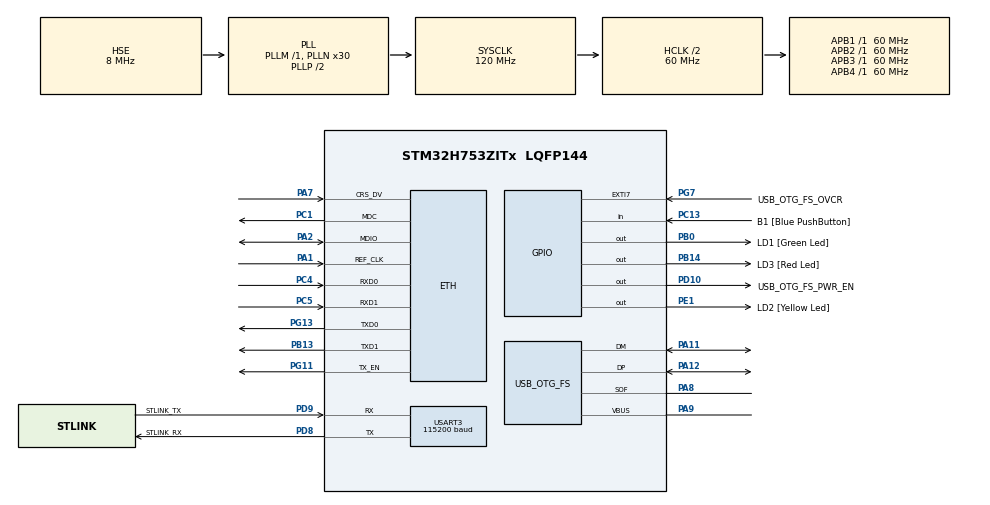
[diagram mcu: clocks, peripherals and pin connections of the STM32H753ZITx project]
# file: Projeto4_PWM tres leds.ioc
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CORTEX_M7.CPU_DCache=Disabled
CORTEX_M7.CPU_ICache=Disabled
CORTEX_M7.MPU_Control=__NULL
ETH.ETH_RX_DESC_CNT=4
ETH.ETH_TX_DESC_CNT=4
ETH.MACAddr=00\:80\:E1\:00\:00\:00
ETH.MediaInterface=HAL_ETH_RMII_MODE
ETH.RxBuffAddress=0x30040200
ETH.RxBuffLen=1524
ETH.RxDescAddress=0x30040000
ETH.TxDescAddress=0x30040060
Mcu.Family=STM32H7
Mcu.Name=STM32H753ZITx
Mcu.Package=LQFP144
NVIC.PriorityGroup=NVIC_PRIORITYGROUP_4
PA1.Mode=RMII
PA1.Signal=ETH_REF_CLK
PA11.Mode=Device_Only
PA11.Signal=USB_OTG_FS_DM
PA12.Mode=Device_Only
PA12.Signal=USB_OTG_FS_DP
PA2.Mode=RMII
PA2.Signal=ETH_MDIO
PA7.Mode=RMII
PA7.Signal=ETH_CRS_DV
PA8.Mode=Activate_SOF_FS
PA8.Signal=USB_OTG_FS_SOF
PA9.Mode=Activate_VBUS
PA9.Signal=USB_OTG_FS_VBUS
PB0.GPIO_Label=LD1 [Green Led]
PB0.Signal=GPIO_Output
PB13.Mode=RMII
PB13.Signal=ETH_TXD1
PB14.GPIO_Label=LD3 [Red Led]
PB14.Signal=GPIO_Output
PC1.Mode=RMII
PC1.Signal=ETH_MDC
PC13.GPIO_Label=B1 [Blue PushButton]
PC13.Signal=GPIO_Input
PC14-OSC32_IN\ (OSC32_IN).Mode=LSE-External-Oscillator
PC14-OSC32_IN\ (OSC32_IN).Signal=RCC_OSC32_IN
PC15-OSC32_OUT\ (OSC32_OUT).Mode=LSE-External-Oscillator
PC15-OSC32_OUT\ (OSC32_OUT).Signal=RCC_OSC32_OUT
PC4.Mode=RMII
PC4.Signal=ETH_RXD0
PC5.Mode=RMII
PC5.Signal=ETH_RXD1
PD10.GPIO_Label=USB_OTG_FS_PWR_EN
PD10.Signal=GPIO_Output
PD8.GPIO_Label=STLINK_RX
PD8.Mode=Asynchronous
PD8.Signal=USART3_TX
PD9.GPIO_Label=STLINK_TX
PD9.Mode=Asynchronous
PD9.Signal=USART3_RX
PE1.GPIO_Label=LD2 [Yellow Led]
PE1.Signal=GPIO_Output
PG11.Mode=RMII
PG11.Signal=ETH_TX_EN
PG13.Mode=RMII
PG13.Signal=ETH_TXD0
PG7.GPIO_Label=USB_OTG_FS_OVCR
PG7.Signal=GPXTI7
PH0-OSC_IN\ (PH0).Mode=HSE-External-Clock-Source
PH0-OSC_IN\ (PH0).Signal=RCC_OSC_IN
PH1-OSC_OUT\ (PH1).Signal=RCC_OSC_OUT
ProjectManager.HeapSize=0x200
ProjectManager.StackSize=0x400
ProjectManager.TargetToolchain=STM32CubeIDE
RCC.ADCFreq_Value=16125000
RCC.APB1Freq_Value=60000000
RCC.APB2Freq_Value=60000000
RCC.APB3Freq_Value=60000000
RCC.APB4Freq_Value=60000000
RCC.CortexFreq_Value=60000000
RCC.D1CPRE=RCC_SYSCLK_DIV2
RCC.DIVM1=1
RCC.DIVN1=30
RCC.DIVQ1=4
RCC.HCLKFreq_Value=60000000
RCC.HSE_VALUE=8000000
RCC.PLL2FRACN=0
RCC.PLL3FRACN=0
RCC.PLLFRACN=0
RCC.PWR_Regulator_Voltage_Scale=PWR_REGULATOR_VOLTAGE_SCALE2
RCC.SYSCLKFreq_VALUE=120000000
RCC.SYSCLKSource=RCC_SYSCLKSOURCE_PLLCLK
RCC.USBFreq_Value=60000000
USART3.AutoBaudRateEnableParam=UART_ADVFEATURE_AUTOBAUDRATE_DISABLE
USART3.BaudRate=115200
USART3.ClockPrescaler=PRESCALER_DIV1
USART3.DMADisableonRxErrorParam=ADVFEATURE_DMA_ENABLEONRXERROR
USART3.DataInvertParam=ADVFEATURE_DATAINV_DISABLE
USART3.FIFOMode=FIFOMODE_DISABLE
USART3.MSBFirstParam=ADVFEATURE_MSBFIRST_DISABLE
USART3.Mode=MODE_TX_RX
USART3.OneBitSampling=UART_ONE_BIT_SAMPLE_DISABLE
USART3.OverSampling=UART_OVERSAMPLING_16
USART3.OverrunDisableParam=ADVFEATURE_OVERRUN_ENABLE
USART3.Parity=PARITY_NONE
USART3.RXFIFOThreshold=RXFIFO_THRESHOLD_1EIGHTHFULL
USART3.RxPinLevelInvertParam=ADVFEATURE_RXINV_DISABLE
USART3.StopBits=STOPBITS_1
USART3.SwapParam=ADVFEATURE_SWAP_DISABLE
USART3.TXFIFOThreshold=TXFIFO_THRESHOLD_1EIGHTHFULL
USART3.TxPinLevelInvertParam=ADVFEATURE_TXINV_DISABLE
USART3.VirtualMode-Asynchronous=VM_ASYNC
USART3.WordLength=WORDLENGTH_8B
USB_OTG_FS.Sof_enable=ENABLE
USB_OTG_FS.VirtualMode=Device_Only
USB_OTG_FS.battery_charging_enable=ENABLE
USB_OTG_FS.low_power_enable=DISABLE
USB_OTG_FS.lpm_enable=DISABLE
USB_OTG_FS.use_dedicated_ep1=DISABLE
USB_OTG_FS.vbus_sensing_enable=ENABLE
board=NUCLEO-H753ZI

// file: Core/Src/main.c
/* USER CODE BEGIN Header */
/**
  ******************************************************************************
  * @file           : main.c
  * @brief          : Main program body
  ******************************************************************************
  * @attention
  *
  * Copyright (c) 2024 STMicroelectronics.
  * All rights reserved.
  *
  * This software is licensed under terms that can be found in the LICENSE file
  * in the root directory of this software component.
  * If no LICENSE file comes with this software, it is provided AS-IS.
  *
  ******************************************************************************
  */
/* USER CODE END Header */
#include "main.h"
#include "string.h"

#if defined ( __ICCARM__ ) /*!< IAR Compiler */
#pragma location=0x30040000
ETH_DMADescTypeDef  DMARxDscrTab[ETH_RX_DESC_CNT]; /* Ethernet Rx DMA Descriptors */
#pragma location=0x30040060
ETH_DMADescTypeDef  DMATxDscrTab[ETH_TX_DESC_CNT]; /* Ethernet Tx DMA Descriptors */

#elif defined ( __CC_ARM )  /* MDK ARM Compiler */

__attribute__((at(0x30040000))) ETH_DMADescTypeDef  DMARxDscrTab[ETH_RX_DESC_CNT]; /* Ethernet Rx DMA Descriptors */
__attribute__((at(0x30040060))) ETH_DMADescTypeDef  DMATxDscrTab[ETH_TX_DESC_CNT]; /* Ethernet Tx DMA Descriptors */

#elif defined ( __GNUC__ ) /* GNU Compiler */

ETH_DMADescTypeDef DMARxDscrTab[ETH_RX_DESC_CNT] __attribute__((section(".RxDecripSection"))); /* Ethernet Rx DMA Descriptors */
ETH_DMADescTypeDef DMATxDscrTab[ETH_TX_DESC_CNT] __attribute__((section(".TxDecripSection")));   /* Ethernet Tx DMA Descriptors */
#endif

ETH_TxPacketConfig TxConfig;

ETH_HandleTypeDef heth;

UART_HandleTypeDef huart3;

PCD_HandleTypeDef hpcd_USB_OTG_FS;

void SystemClock_Config(void);
static void MX_GPIO_Init(void);
static void MX_ETH_Init(void);
static void MX_USART3_UART_Init(void);
static void MX_USB_OTG_FS_PCD_Init(void);

int main(void)
{

  /* MCU Configuration--------------------------------------------------------*/

  /* Reset of all peripherals, Initializes the Flash interface and the Systick. */
  HAL_Init();

  /* Configure the system clock */
  SystemClock_Config();

  /* Initialize all configured peripherals */
  MX_GPIO_Init();
  MX_ETH_Init();
  MX_USART3_UART_Init();
  MX_USB_OTG_FS_PCD_Init();
  /* USER CODE BEGIN 2 */

	  uint32_t frequency = 100;
	  uint32_t duty_cycle = 90;
	  uint32_t period_ms = 1000 / frequency;
	  // Calcula ON time e OFF time baseado no duty cycle
	  uint32_t on_time = (period_ms * duty_cycle) / 100;
	  uint32_t off_time = period_ms - on_time;

  /* USER CODE END 2 */

  /* Infinite loop */
  /* USER CODE BEGIN WHILE */
  while (1)
  {
	  // Liga GPIO durante ON time
	  HAL_GPIO_WritePin(GPIOB, GPIO_PIN_14, GPIO_PIN_SET);
	  HAL_Delay(on_time);

	  // Desliga GPIO durante OFF time
	  HAL_GPIO_WritePin(GPIOB, GPIO_PIN_14, GPIO_PIN_RESET);
	  HAL_Delay(off_time);

	  // Liga GPIO durante ON time
	  HAL_GPIO_WritePin(GPIOB, GPIO_PIN_0, GPIO_PIN_SET);
	  HAL_Delay(on_time);

	  // Desliga GPIO durante OFF time
	  HAL_GPIO_WritePin(GPIOB, GPIO_PIN_0, GPIO_PIN_RESET);
	  HAL_Delay(off_time);

	  // Liga GPIO durante ON time
	  HAL_GPIO_WritePin(GPIOE, GPIO_PIN_1, GPIO_PIN_SET);
	  HAL_Delay(on_time);

	  // Desliga GPIO durante OFF time
	  HAL_GPIO_WritePin(GPIOE, GPIO_PIN_1, GPIO_PIN_RESET);
	  HAL_Delay(off_time);

    /* USER CODE END WHILE */

  }
}

void SystemClock_Config(void)
{
  RCC_OscInitTypeDef RCC_OscInitStruct = {0};
  RCC_ClkInitTypeDef RCC_ClkInitStruct = {0};

  /** Supply configuration update enable
  */
  HAL_PWREx_ConfigSupply(PWR_LDO_SUPPLY);

  /** Configure the main internal regulator output voltage
  */
  __HAL_PWR_VOLTAGESCALING_CONFIG(PWR_REGULATOR_VOLTAGE_SCALE2);

  while(!__HAL_PWR_GET_FLAG(PWR_FLAG_VOSRDY)) {}

  /** Initializes the RCC Oscillators according to the specified parameters
  * in the RCC_OscInitTypeDef structure.
  */
  RCC_OscInitStruct.OscillatorType = RCC_OSCILLATORTYPE_HSE;
  RCC_OscInitStruct.HSEState = RCC_HSE_BYPASS;
  RCC_OscInitStruct.PLL.PLLState = RCC_PLL_ON;
  RCC_OscInitStruct.PLL.PLLSource = RCC_PLLSOURCE_HSE;
  RCC_OscInitStruct.PLL.PLLM = 1;
  RCC_OscInitStruct.PLL.PLLN = 30;
  RCC_OscInitStruct.PLL.PLLP = 2;
  RCC_OscInitStruct.PLL.PLLQ = 4;
  RCC_OscInitStruct.PLL.PLLR = 2;
  RCC_OscInitStruct.PLL.PLLRGE = RCC_PLL1VCIRANGE_3;
  RCC_OscInitStruct.PLL.PLLVCOSEL = RCC_PLL1VCOWIDE;
  RCC_OscInitStruct.PLL.PLLFRACN = 0;
  if (HAL_RCC_OscConfig(&RCC_OscInitStruct) != HAL_OK)
  {
    Error_Handler();
  }

  /** Initializes the CPU, AHB and APB buses clocks
  */
  RCC_ClkInitStruct.ClockType = RCC_CLOCKTYPE_HCLK|RCC_CLOCKTYPE_SYSCLK
                              |RCC_CLOCKTYPE_PCLK1|RCC_CLOCKTYPE_PCLK2
                              |RCC_CLOCKTYPE_D3PCLK1|RCC_CLOCKTYPE_D1PCLK1;
  RCC_ClkInitStruct.SYSCLKSource = RCC_SYSCLKSOURCE_PLLCLK;
  RCC_ClkInitStruct.SYSCLKDivider = RCC_SYSCLK_DIV2;
  RCC_ClkInitStruct.AHBCLKDivider = RCC_HCLK_DIV1;
  RCC_ClkInitStruct.APB3CLKDivider = RCC_APB3_DIV1;
  RCC_ClkInitStruct.APB1CLKDivider = RCC_APB1_DIV1;
  RCC_ClkInitStruct.APB2CLKDivider = RCC_APB2_DIV1;
  RCC_ClkInitStruct.APB4CLKDivider = RCC_APB4_DIV1;

  if (HAL_RCC_ClockConfig(&RCC_ClkInitStruct, FLASH_LATENCY_1) != HAL_OK)
  {
    Error_Handler();
  }
}

static void MX_ETH_Init(void)
{

   static uint8_t MACAddr[6];

  heth.Instance = ETH;
  MACAddr[0] = 0x00;
  MACAddr[1] = 0x80;
  MACAddr[2] = 0xE1;
  MACAddr[3] = 0x00;
  MACAddr[4] = 0x00;
  MACAddr[5] = 0x00;
  heth.Init.MACAddr = &MACAddr[0];
  heth.Init.MediaInterface = HAL_ETH_RMII_MODE;
  heth.Init.TxDesc = DMATxDscrTab;
  heth.Init.RxDesc = DMARxDscrTab;
  heth.Init.RxBuffLen = 1524;

  if (HAL_ETH_Init(&heth) != HAL_OK)
  {
    Error_Handler();
  }

  memset(&TxConfig, 0 , sizeof(ETH_TxPacketConfig));
  TxConfig.Attributes = ETH_TX_PACKETS_FEATURES_CSUM | ETH_TX_PACKETS_FEATURES_CRCPAD;
  TxConfig.ChecksumCtrl = ETH_CHECKSUM_IPHDR_PAYLOAD_INSERT_PHDR_CALC;
  TxConfig.CRCPadCtrl = ETH_CRC_PAD_INSERT;

}

static void MX_USART3_UART_Init(void)
{

  huart3.Instance = USART3;
  huart3.Init.BaudRate = 115200;
  huart3.Init.WordLength = UART_WORDLENGTH_8B;
  huart3.Init.StopBits = UART_STOPBITS_1;
  huart3.Init.Parity = UART_PARITY_NONE;
  huart3.Init.Mode = UART_MODE_TX_RX;
  huart3.Init.HwFlowCtl = UART_HWCONTROL_NONE;
  huart3.Init.OverSampling = UART_OVERSAMPLING_16;
  huart3.Init.OneBitSampling = UART_ONE_BIT_SAMPLE_DISABLE;
  huart3.Init.ClockPrescaler = UART_PRESCALER_DIV1;
  huart3.AdvancedInit.AdvFeatureInit = UART_ADVFEATURE_NO_INIT;
  if (HAL_UART_Init(&huart3) != HAL_OK)
  {
    Error_Handler();
  }
  if (HAL_UARTEx_SetTxFifoThreshold(&huart3, UART_TXFIFO_THRESHOLD_1_8) != HAL_OK)
  {
    Error_Handler();
  }
  if (HAL_UARTEx_SetRxFifoThreshold(&huart3, UART_RXFIFO_THRESHOLD_1_8) != HAL_OK)
  {
    Error_Handler();
  }
  if (HAL_UARTEx_DisableFifoMode(&huart3) != HAL_OK)
  {
    Error_Handler();
  }

}

static void MX_USB_OTG_FS_PCD_Init(void)
{

  hpcd_USB_OTG_FS.Instance = USB_OTG_FS;
  hpcd_USB_OTG_FS.Init.dev_endpoints = 9;
  hpcd_USB_OTG_FS.Init.speed = PCD_SPEED_FULL;
  hpcd_USB_OTG_FS.Init.dma_enable = DISABLE;
  hpcd_USB_OTG_FS.Init.phy_itface = PCD_PHY_EMBEDDED;
  hpcd_USB_OTG_FS.Init.Sof_enable = ENABLE;
  hpcd_USB_OTG_FS.Init.low_power_enable = DISABLE;
  hpcd_USB_OTG_FS.Init.lpm_enable = DISABLE;
  hpcd_USB_OTG_FS.Init.battery_charging_enable = ENABLE;
  hpcd_USB_OTG_FS.Init.vbus_sensing_enable = ENABLE;
  hpcd_USB_OTG_FS.Init.use_dedicated_ep1 = DISABLE;
  if (HAL_PCD_Init(&hpcd_USB_OTG_FS) != HAL_OK)
  {
    Error_Handler();
  }

}

static void MX_GPIO_Init(void)
{
  GPIO_InitTypeDef GPIO_InitStruct = {0};

  /* GPIO Ports Clock Enable */
  __HAL_RCC_GPIOC_CLK_ENABLE();
  __HAL_RCC_GPIOH_CLK_ENABLE();
  __HAL_RCC_GPIOA_CLK_ENABLE();
  __HAL_RCC_GPIOB_CLK_ENABLE();
  __HAL_RCC_GPIOD_CLK_ENABLE();
  __HAL_RCC_GPIOG_CLK_ENABLE();
  __HAL_RCC_GPIOE_CLK_ENABLE();

  /*Configure GPIO pin Output Level */
  HAL_GPIO_WritePin(GPIOB, LD1_Pin|LD3_Pin, GPIO_PIN_RESET);

  /*Configure GPIO pin Output Level */
  HAL_GPIO_WritePin(USB_OTG_FS_PWR_EN_GPIO_Port, USB_OTG_FS_PWR_EN_Pin, GPIO_PIN_RESET);

  /*Configure GPIO pin Output Level */
  HAL_GPIO_WritePin(LD2_GPIO_Port, LD2_Pin, GPIO_PIN_RESET);

  /*Configure GPIO pin : B1_Pin */
  GPIO_InitStruct.Pin = B1_Pin;
  GPIO_InitStruct.Mode = GPIO_MODE_INPUT;
  GPIO_InitStruct.Pull = GPIO_NOPULL;
  HAL_GPIO_Init(B1_GPIO_Port, &GPIO_InitStruct);

  /*Configure GPIO pins : LD1_Pin LD3_Pin */
  GPIO_InitStruct.Pin = LD1_Pin|LD3_Pin;
  GPIO_InitStruct.Mode = GPIO_MODE_OUTPUT_PP;
  GPIO_InitStruct.Pull = GPIO_NOPULL;
  GPIO_InitStruct.Speed = GPIO_SPEED_FREQ_LOW;
  HAL_GPIO_Init(GPIOB, &GPIO_InitStruct);

  /*Configure GPIO pin : USB_OTG_FS_PWR_EN_Pin */
  GPIO_InitStruct.Pin = USB_OTG_FS_PWR_EN_Pin;
  GPIO_InitStruct.Mode = GPIO_MODE_OUTPUT_PP;
  GPIO_InitStruct.Pull = GPIO_NOPULL;
  GPIO_InitStruct.Speed = GPIO_SPEED_FREQ_LOW;
  HAL_GPIO_Init(USB_OTG_FS_PWR_EN_GPIO_Port, &GPIO_InitStruct);

  /*Configure GPIO pin : USB_OTG_FS_OVCR_Pin */
  GPIO_InitStruct.Pin = USB_OTG_FS_OVCR_Pin;
  GPIO_InitStruct.Mode = GPIO_MODE_IT_RISING;
  GPIO_InitStruct.Pull = GPIO_NOPULL;
  HAL_GPIO_Init(USB_OTG_FS_OVCR_GPIO_Port, &GPIO_InitStruct);

  /*Configure GPIO pin : LD2_Pin */
  GPIO_InitStruct.Pin = LD2_Pin;
  GPIO_InitStruct.Mode = GPIO_MODE_OUTPUT_PP;
  GPIO_InitStruct.Pull = GPIO_NOPULL;
  GPIO_InitStruct.Speed = GPIO_SPEED_FREQ_LOW;
  HAL_GPIO_Init(LD2_GPIO_Port, &GPIO_InitStruct);

}

void Error_Handler(void)
{
  __disable_irq();
  while (1)
  {
  }
}
